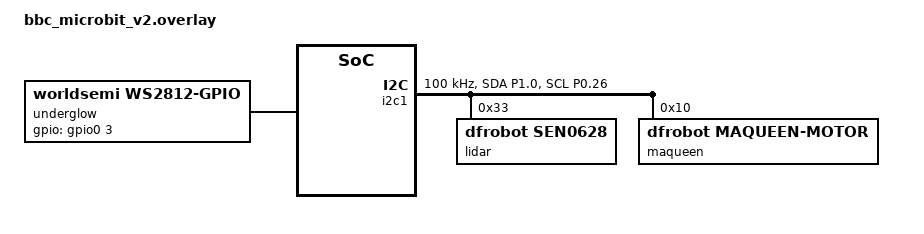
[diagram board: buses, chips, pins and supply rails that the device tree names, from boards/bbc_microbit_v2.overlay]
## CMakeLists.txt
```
# Proximity LED Visualization Application
#
# Displays obstacle proximity using headlights and underglow LEDs.
# Color indicates distance: green=safe, yellow=caution, red=danger.
#
# Build:
#   west build -b bbc_microbit_v2 apps/proximity_leds -p
#
# SPDX-License-Identifier: Apache-2.0

cmake_minimum_required(VERSION 3.20.0)

set(ZEPHYR_APP_ROOT ${CMAKE_CURRENT_SOURCE_DIR}/../..)

list(APPEND DTS_ROOT ${ZEPHYR_APP_ROOT})
set(KCONFIG_ROOT ${ZEPHYR_APP_ROOT}/Kconfig)

find_package(Zephyr REQUIRED HINTS $ENV{ZEPHYR_BASE})

project(proximity_leds)

target_sources(app PRIVATE src/main.c)

target_include_directories(app PRIVATE
    ${ZEPHYR_APP_ROOT}/drivers/sen0628
    ${ZEPHYR_APP_ROOT}/src
)

target_sources(app PRIVATE
    ${ZEPHYR_APP_ROOT}/drivers/sen0628/sen0628.c
    ${ZEPHYR_APP_ROOT}/src/maqueen.c
)
```

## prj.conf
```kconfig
# Proximity LED Visualization Configuration
#
# SPDX-License-Identifier: Apache-2.0

# Logging
CONFIG_LOG=y
CONFIG_LOG_DEFAULT_LEVEL=3
CONFIG_PRINTK=y

# I2C for LIDAR and Maqueen
CONFIG_I2C=y

# LED strip for underglow (WS2812 via GPIO)
# WS2812_STRIP_GPIO is auto-enabled via device tree
CONFIG_LED_STRIP=y

# WS2812 timing for nRF52833 @ 64MHz (micro:bit V2)
# Spec: T0H=350ns, T0L=800ns, T1H=700ns, T1L=600ns
# Increased values to prevent timing drift on LED chain
CONFIG_DELAY_T1H=50
CONFIG_DELAY_T1L=45
CONFIG_DELAY_T0H=25
CONFIG_DELAY_T0L=55

# SEN0628 LIDAR Driver
CONFIG_SEN0628=y
CONFIG_SEN0628_LOG_LEVEL=2
CONFIG_SEN0628_DEFAULT_MODE=4
CONFIG_SEN0628_READ_DELAY_MS=10

# Timing
CONFIG_SYS_CLOCK_TICKS_PER_SEC=1000
```

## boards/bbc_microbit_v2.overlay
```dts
/*
 * Device Tree Overlay for Proximity LED Visualization
 *
 * Enables:
 *   - SEN0628 LIDAR on external I2C (0x33)
 *   - Maqueen motor controller for headlights (0x10)
 *   - WS2812 underglow LEDs on P1
 *
 * SPDX-License-Identifier: Apache-2.0
 */

#include <zephyr/dt-bindings/gpio/gpio.h>
#include <zephyr/dt-bindings/led/led.h>
#include <zephyr/dt-bindings/i2c/i2c.h>

&pinctrl {
	i2c1_default: i2c1_default {
		group1 {
			psels = <NRF_PSEL(TWIM_SDA, 1, 0)>,
				<NRF_PSEL(TWIM_SCL, 0, 26)>;
		};
	};

	i2c1_sleep: i2c1_sleep {
		group1 {
			psels = <NRF_PSEL(TWIM_SDA, 1, 0)>,
				<NRF_PSEL(TWIM_SCL, 0, 26)>;
			low-power-enable;
		};
	};
};

/ {
	aliases {
		led-strip = &underglow;
		lidar = &lidar;
		maqueen = &maqueen;
	};

	underglow: ws2812 {
		compatible = "worldsemi,ws2812-gpio";
		chain-length = <4>;
		/* Standard WS2812 GRB order */
		color-mapping = <LED_COLOR_ID_GREEN
				 LED_COLOR_ID_RED
				 LED_COLOR_ID_BLUE>;
		/* Timing in NOPs - tuned for 4 LED chain on nRF52833 */
		delay-t1h = <50>;
		delay-t1l = <45>;
		delay-t0h = <25>;
		delay-t0l = <55>;
		reset-delay = <80>;
		gpios = <&gpio0 3 GPIO_ACTIVE_HIGH>;
	};
};

&i2c1 {
	compatible = "nordic,nrf-twim";
	status = "okay";
	clock-frequency = <I2C_BITRATE_STANDARD>;
	pinctrl-0 = <&i2c1_default>;
	pinctrl-1 = <&i2c1_sleep>;
	pinctrl-names = "default", "sleep";

	lidar: sen0628@33 {
		compatible = "dfrobot,sen0628";
		reg = <0x33>;
		initial-mode = <4>;
	};

	maqueen: maqueen@10 {
		compatible = "dfrobot,maqueen-motor";
		reg = <0x10>;
	};
};
```

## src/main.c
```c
/*
 * Proximity LED Visualization Application
 *
 * Displays obstacle proximity using LEDs:
 *   - Headlights: Left/Right based on obstacle direction
 *   - Underglow: 4 LEDs mapped to 4 LIDAR columns
 *   - Color: Green (safe) -> Yellow (caution) -> Red (danger)
 *
 * SPDX-License-Identifier: Apache-2.0
 */

#include <zephyr/kernel.h>
#include <zephyr/device.h>
#include <zephyr/drivers/i2c.h>
#include <zephyr/drivers/led_strip.h>
#include <zephyr/drivers/gpio.h>
#include <zephyr/logging/log.h>
#include <string.h>

#include "sen0628.h"
#include "maqueen.h"

LOG_MODULE_REGISTER(proximity, LOG_LEVEL_INF);

/*
 * Distance thresholds (mm)
 */
#define DIST_DANGER     300     /* Red zone */
#define DIST_CAUTION    500     /* Yellow zone */
#define DIST_SAFE       500     /* Green zone (anything above caution) */

/*
 * Device handles
 */
#define I2C_EXT_NODE    DT_NODELABEL(i2c1)
#define LIDAR_NODE      DT_NODELABEL(lidar)
#define STRIP_NODE      DT_ALIAS(led_strip)

static const struct device *i2c_ext = DEVICE_DT_GET(I2C_EXT_NODE);
static const struct device *lidar = DEVICE_DT_GET(LIDAR_NODE);

#if DT_NODE_HAS_STATUS(STRIP_NODE, okay)
#define HAS_LED_STRIP 1
#define STRIP_NUM_PIXELS DT_PROP(STRIP_NODE, chain_length)
static const struct device *strip = DEVICE_DT_GET(STRIP_NODE);
static struct led_rgb pixels[STRIP_NUM_PIXELS];
#else
#define HAS_LED_STRIP 0
#warning "LED strip not configured"
#endif

/*
 * RGB color definitions
 * Using brighter values for visibility
 */
#define COLOR_OFF       (struct led_rgb){ .r = 0,    .g = 0,    .b = 0    }
#define COLOR_GREEN     (struct led_rgb){ .r = 0,    .g = 0x80, .b = 0    }
#define COLOR_YELLOW    (struct led_rgb){ .r = 0x80, .g = 0x40, .b = 0    }
#define COLOR_RED       (struct led_rgb){ .r = 0xFF, .g = 0,    .b = 0    }  /* Full red */

/*
 * Convert distance to RGB color
 * Very close objects (< 20mm) are treated as RED (not off)
 */
static struct led_rgb distance_to_color(uint16_t distance)
{
	if (distance >= SEN0628_DIST_INVALID) {
		return COLOR_OFF;  /* No reading */
	}
	/* Very close or within danger zone -> RED */
	if (distance < DIST_DANGER) {
		return COLOR_RED;
	}
	if (distance < DIST_CAUTION) {
		return COLOR_YELLOW;
	}
	return COLOR_GREEN;
}

/*
 * Convert distance to Maqueen headlight color
 * Very close objects (< 20mm) are treated as RED (not off)
 */
static uint8_t distance_to_headlight(uint16_t distance)
{
	if (distance >= SEN0628_DIST_INVALID) {
		return MAQUEEN_COLOR_OFF;  /* No reading */
	}
	/* Very close or within danger zone -> RED */
	if (distance < DIST_DANGER) {
		return MAQUEEN_COLOR_RED;
	}
	if (distance < DIST_CAUTION) {
		return MAQUEEN_COLOR_YELLOW;
	}
	return MAQUEEN_COLOR_GREEN;
}

/*
 * Update all LEDs based on LIDAR column data
 *
 * LED mapping (4x4 LIDAR mode):
 *   LED 0 (front-left)  -> Col 0
 *   LED 1 (rear-left)   -> Col 1
 *   LED 2 (rear-right)  -> Col 2
 *   LED 3 (front-right) -> Col 3
 */
static void update_leds(const struct sen0628_columns *cols)
{
	uint16_t left_min, right_min;
	int ret;

	/* Find minimum distance for left side (cols 0-1) */
	left_min = MIN(cols->min[0], cols->min[1]);

	/* Find minimum distance for right side (cols 2-3) */
	right_min = MIN(cols->min[2], cols->min[3]);

	/* Update headlights */
	ret = maqueen_headlight_set(i2c_ext, 0, distance_to_headlight(left_min));
	if (ret < 0) {
		LOG_WRN("Failed to set left headlight: %d", ret);
	}

	ret = maqueen_headlight_set(i2c_ext, 1, distance_to_headlight(right_min));
	if (ret < 0) {
		LOG_WRN("Failed to set right headlight: %d", ret);
	}

#if HAS_LED_STRIP
	/* Update all 4 underglow LEDs - one per LIDAR column */
	for (int i = 0; i < STRIP_NUM_PIXELS && i < 4; i++) {
		pixels[i] = distance_to_color(cols->min[i]);
	}

	ret = led_strip_update_rgb(strip, pixels, STRIP_NUM_PIXELS);
	if (ret < 0) {
		LOG_WRN("Failed to update underglow: %d", ret);
	}
#endif
}

/*
 * Print status to console
 */
static void print_status(const struct sen0628_columns *cols, uint32_t scan_ms)
{
	static const char *zone_char[] = {"[===]", "[###]", "[XXX]", "[   ]"};
	int zones[4];

	for (int i = 0; i < 4; i++) {
		uint16_t d = cols->min[i];
		if (d >= SEN0628_DIST_INVALID) {
			zones[i] = 3;  /* No reading */
		} else if (d < DIST_DANGER) {
			zones[i] = 2;  /* Danger */
		} else if (d < DIST_CAUTION) {
			zones[i] = 1;  /* Caution */
		} else {
			zones[i] = 0;  /* Safe */
		}
	}

	printk("\r%s %s %s %s  L:%4d C:%4d R:%4d  %3dms  ",
	       zone_char[zones[0]], zone_char[zones[1]],
	       zone_char[zones[2]], zone_char[zones[3]],
	       cols->min[0], MIN(cols->min[1], cols->min[2]), cols->min[3],
	       scan_ms);
}

/*
 * Turn off all LEDs
 */
static void leds_off(void)
{
	maqueen_headlight_set(i2c_ext, 0, MAQUEEN_COLOR_OFF);
	maqueen_headlight_set(i2c_ext, 1, MAQUEEN_COLOR_OFF);

#if HAS_LED_STRIP
	memset(pixels, 0, sizeof(pixels));
	led_strip_update_rgb(strip, pixels, STRIP_NUM_PIXELS);
#endif
}

/*
 * Startup animation - COLOR TEST to find correct order
 */
static void startup_animation(void)
{
	LOG_INF("=== COLOR TEST - Note what you see! ===");

#if HAS_LED_STRIP
	/* Test each primary color separately */
	struct led_rgb pure_red   = {.r = 0xFF, .g = 0x00, .b = 0x00};
	struct led_rgb pure_green = {.r = 0x00, .g = 0xFF, .b = 0x00};
	struct led_rgb pure_blue  = {.r = 0x00, .g = 0x00, .b = 0xFF};

	/* Test RED */
	printk("\n>>> Sending RED (FF,00,00) - what color do you see? <<<\n");
	for (int i = 0; i < STRIP_NUM_PIXELS; i++) pixels[i] = pure_red;
	led_strip_update_rgb(strip, pixels, STRIP_NUM_PIXELS);
	k_sleep(K_MSEC(2000));

	/* Test GREEN */
	printk(">>> Sending GREEN (00,FF,00) - what color do you see? <<<\n");
	for (int i = 0; i < STRIP_NUM_PIXELS; i++) pixels[i] = pure_green;
	led_strip_update_rgb(strip, pixels, STRIP_NUM_PIXELS);
	k_sleep(K_MSEC(2000));

	/* Test BLUE */
	printk(">>> Sending BLUE (00,00,FF) - what color do you see? <<<\n");
	for (int i = 0; i < STRIP_NUM_PIXELS; i++) pixels[i] = pure_blue;
	led_strip_update_rgb(strip, pixels, STRIP_NUM_PIXELS);
	k_sleep(K_MSEC(2000));

	/* Test WHITE */
	printk(">>> Sending WHITE (FF,FF,FF) - what color do you see? <<<\n");
	struct led_rgb white = {.r = 0xFF, .g = 0xFF, .b = 0xFF};
	for (int i = 0; i < STRIP_NUM_PIXELS; i++) pixels[i] = white;
	led_strip_update_rgb(strip, pixels, STRIP_NUM_PIXELS);
	k_sleep(K_MSEC(2000));
#endif

	leds_off();
	LOG_INF("Color test complete - starting main loop");
	k_sleep(K_MSEC(500));
}

int main(void)
{
	struct sen0628_scan scan;
	struct sen0628_columns cols;
	int ret;

	LOG_INF("=== Proximity LED Visualization ===");
	LOG_INF("Green: safe (>%dmm), Yellow: caution (%d-%dmm), Red: danger (<%dmm)",
		DIST_CAUTION, DIST_DANGER, DIST_CAUTION, DIST_DANGER);

	/* Check devices */
	if (!device_is_ready(i2c_ext)) {
		LOG_ERR("External I2C not ready");
		return -1;
	}

	if (!device_is_ready(lidar)) {
		LOG_ERR("LIDAR not ready");
		return -1;
	}

#if HAS_LED_STRIP
	if (!device_is_ready(strip)) {
		LOG_ERR("LED strip not ready");
		return -1;
	}
	LOG_INF("LED strip ready (%d LEDs)", STRIP_NUM_PIXELS);
#endif

	/* Initialize Maqueen */
	ret = maqueen_init(i2c_ext);
	if (ret < 0) {
		LOG_ERR("Failed to init Maqueen: %d", ret);
		return -1;
	}

	/* Initialize LIDAR */
	ret = sen0628_init(lidar);
	if (ret < 0) {
		LOG_ERR("Failed to init LIDAR: %d", ret);
		return -1;
	}

	/* Set 4x4 mode for faster refresh */
	ret = sen0628_set_mode(lidar, SEN0628_MODE_4X4);
	if (ret < 0) {
		LOG_WRN("Failed to set 4x4 mode, using default");
	}

	LOG_INF("LIDAR mode: %dx%d", sen0628_get_mode(lidar), sen0628_get_mode(lidar));

	/* Startup animation */
	startup_animation();

	LOG_INF("Starting proximity detection loop...");
	printk("\n[===]=safe [###]=caution [XXX]=danger\n\n");

	/* Main loop */
	while (1) {
		/* Read LIDAR scan */
		ret = sen0628_read_scan(lidar, &scan);
		if (ret < 0 && ret != -scan.valid_count) {
			LOG_WRN("Scan error: %d", ret);
		}

		/* Get column statistics */
		ret = sen0628_get_columns(lidar, &cols);
		if (ret < 0) {
			LOG_WRN("Column stats error: %d", ret);
			continue;
		}

		/* Update LEDs */
		update_leds(&cols);

		/* Print status */
		print_status(&cols, scan.duration_ms);
	}

	return 0;
}
```
